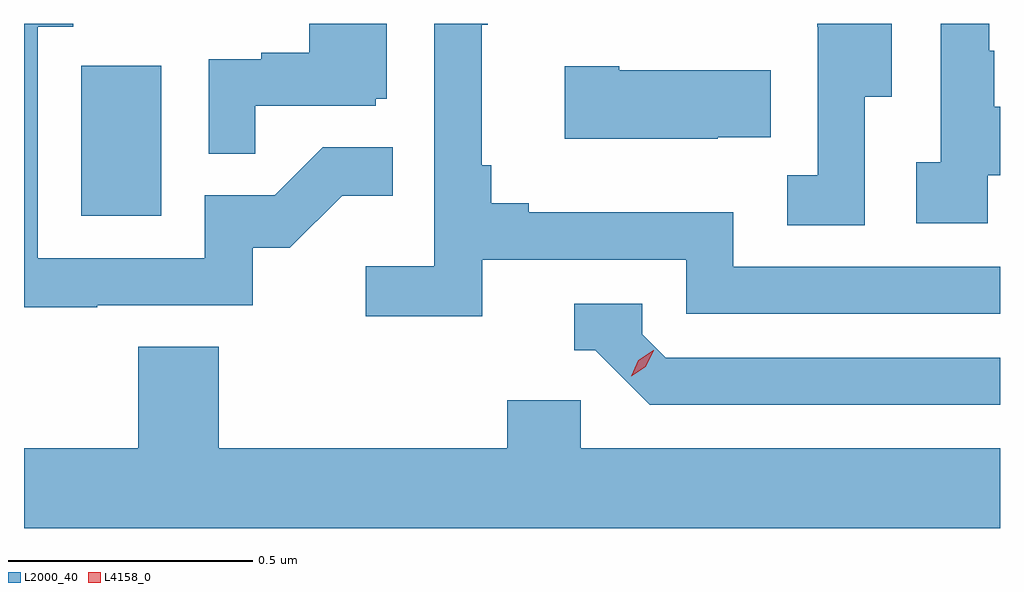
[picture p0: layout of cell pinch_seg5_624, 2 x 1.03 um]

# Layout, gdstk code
import gdstk
lib = gdstk.Library(unit=1e-6, precision=1e-09)
def R(c, l, rs):  # rectangles x0, y0, x1, y1
    for r in rs: c.add(gdstk.rectangle(r[:2], r[2:], *l))
def P(c, l, *ps):  # polygons
    for p in ps: c.add(gdstk.Polygon(p, *l))
L2000_40 = (2000, 40)
L4158_0 = (4158, 0)

pinch_seg5_624 = lib.new_cell('pinch_seg5_624')
R(pinch_seg5_624, L2000_40, [(1067.75,872.052,1067.914,872.359)])
P(pinch_seg5_624, L2000_40, [(1067.783,871.869),(1068.102,871.869),(1068.102,871.986),(1068.178,871.986),(1068.285,872.093),(1068.389,872.093),(1068.389,872.192),(1068.245,872.192),(1068.147,872.094),(1068.003,872.094),(1068.003,871.965),(1067.661,871.965),(1067.661,872.439),(1067.734,872.439),(1067.734,872.445),(1067.633,872.445),(1067.633,871.864),(1067.783,871.864)],
  [(1068.572,871.962),(1068.99,871.962),(1068.99,871.851),(1069.633,871.851),(1069.633,871.947),(1069.086,871.947),(1069.086,872.059),(1068.667,872.059),(1068.667,872.078),(1068.59,872.078),(1068.59,872.155),(1068.571,872.155),(1068.571,872.443),(1068.583,872.443),(1068.583,872.445),(1068.474,872.445),(1068.474,871.948),(1068.333,871.948),(1068.333,871.846),(1068.572,871.846)],
  [(1068.107,872.277),(1068.354,872.277),(1068.354,872.292),(1068.376,872.292),(1068.376,872.445),(1068.218,872.445),(1068.218,872.386),(1068.119,872.386),(1068.119,872.373),(1068.012,872.373),(1068.012,872.179),(1068.107,872.179)],
  [(1069.608,872.135),(1069.633,872.135),(1069.633,872.275),(1069.621,872.275),(1069.621,872.39),(1069.611,872.39),(1069.611,872.445),(1069.512,872.445),(1069.512,872.162),(1069.461,872.162),(1069.461,872.037),(1069.608,872.037)],
  [(1069.356,872.296),(1069.411,872.296),(1069.411,872.445),(1069.259,872.445),(1069.259,872.439),(1069.26,872.439),(1069.26,872.135),(1069.197,872.135),(1069.197,872.032),(1069.356,872.032)],
  [(1069.055,872.213),(1069.163,872.213),(1069.163,872.35),(1068.853,872.35),(1068.853,872.358),(1068.741,872.358),(1068.741,872.21),(1069.055,872.21)],
  [(1069.633,871.761),(1068.948,871.761),(1068.9,871.809),(1068.9,871.872),(1068.761,871.872),(1068.761,871.776),(1068.804,871.776),(1068.915,871.665),(1069.633,871.665)],
  [(1069.633,871.576),(1068.774,871.576),(1068.774,871.674),(1068.623,871.674),(1068.623,871.576),(1068.032,871.576),(1068.032,871.784),(1067.867,871.784),(1067.867,871.576),(1067.633,871.576),(1067.633,871.412),(1069.633,871.412)])
P(pinch_seg5_624, L4158_0, [(1068.877,871.723),(1068.877,871.723),(1068.892,871.756),(1068.922,871.776),(1068.923,871.776),(1068.923,871.776),(1068.907,871.743),(1068.877,871.723)])

lib.write_gds('pinch_seg5_624.gds')
